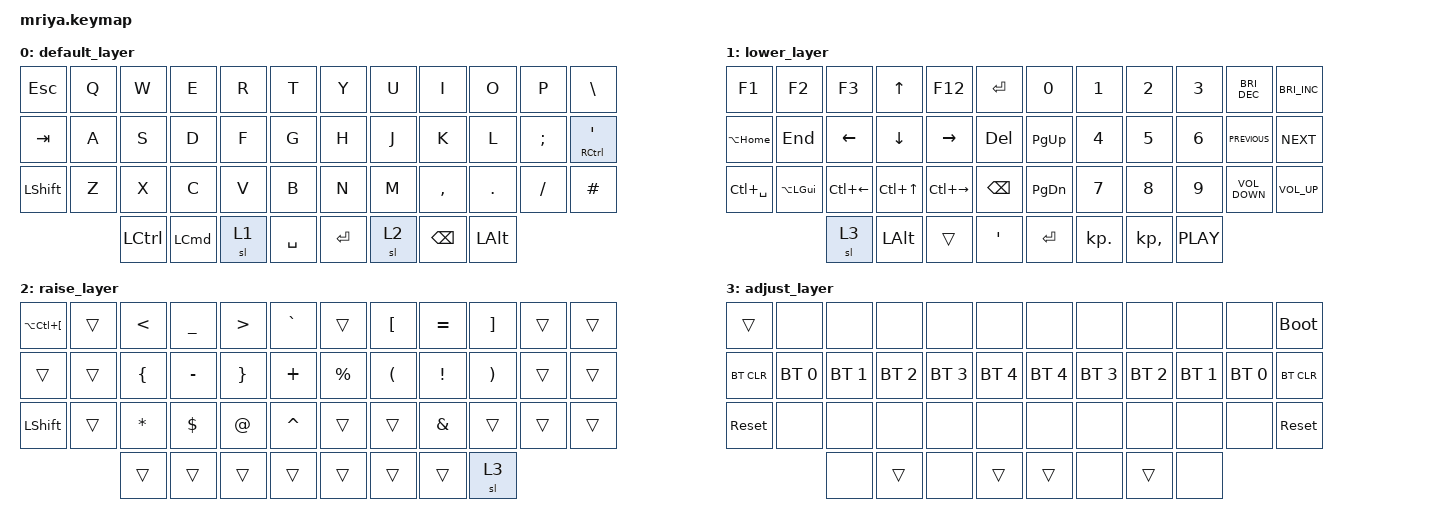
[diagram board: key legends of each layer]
/*
 * Copyright (c) 2023 Andrei Gaevskii
 *
 * SPDX-License-Identifier: MIT
 */

#include <behaviors.dtsi>
#include <dt-bindings/zmk/bt.h>
#include <dt-bindings/zmk/keys.h>

#define DEF 0
#define LWR 1
#define RSE 2
#define ADJ 3

&lt { quick_tap_ms = <200>; };

&mt { quick_tap_ms = <200>; };

/ {
    keymap {
        compatible = "zmk,keymap";

        default_layer {
            bindings = <
  &kp ESC         &kp Q  &kp W             &kp E     &kp R  &kp T        &kp Y      &kp U  &kp I          &kp O         &kp P     &kp BACKSLASH
  &kp TAB         &kp A  &kp S             &kp D     &kp F  &kp G        &kp H      &kp J  &kp K          &kp L         &kp SEMI  &mt RCTRL SQT
  &kp LEFT_SHIFT  &kp Z  &kp X             &kp C     &kp V  &kp B        &kp N      &kp M  &kp COMMA      &kp DOT       &kp FSLH  &kp HASH
                         &kp LEFT_CONTROL  &kp LCMD  &sl 1  &kp SPACE    &kp ENTER  &sl 2  &kp BACKSPACE  &kp LEFT_ALT
            >;
        };

        lower_layer {
            bindings = <
  &kp F1         &kp F2        &kp F3              &kp UP_ARROW      &kp F12              &kp ENTER           &kp NUMBER_0   &kp NUMBER_1  &kp NUMBER_2  &kp NUMBER_3  &kp C_BRIGHTNESS_DEC  &kp C_BRIGHTNESS_INC
  &kp LA(HOME)   &kp END       &kp LEFT_ARROW      &kp DOWN_ARROW    &kp RIGHT_ARROW      &kp DELETE          &kp PAGE_UP    &kp NUMBER_4  &kp NUMBER_5  &kp NUMBER_6  &kp C_PREVIOUS        &kp C_NEXT
  &kp LC(SPACE)  &kp LA(LGUI)  &kp LC(LEFT_ARROW)  &kp LC(UP_ARROW)  &kp LC(RIGHT_ARROW)  &kp BACKSPACE       &kp PAGE_DOWN  &kp N7        &kp N8        &kp N9        &kp C_VOLUME_DOWN     &kp C_VOLUME_UP
                               &sl 3               &kp LEFT_ALT      &trans               &kp SINGLE_QUOTE    &kp ENTER      &kp KP_DOT    &kp KP_COMMA  &kp C_PLAY
            >;
        };

        raise_layer {
            bindings = <
  &kp LA(LC(LEFT_BRACKET))  &trans  &kp LESS_THAN   &kp UNDERSCORE  &kp GREATER_THAN  &kp GRAVE    &trans       &kp LEFT_BRACKET      &kp EQUAL        &kp RIGHT_BRACKET      &trans  &trans
  &trans                    &trans  &kp LEFT_BRACE  &kp MINUS       &kp RIGHT_BRACE   &kp PLUS     &kp PERCENT  &kp LEFT_PARENTHESIS  &kp EXCLAMATION  &kp RIGHT_PARENTHESIS  &trans  &trans
  &kp LEFT_SHIFT            &trans  &kp STAR        &kp DOLLAR      &kp AT            &kp CARET    &trans       &trans                &kp AMPERSAND    &trans                 &trans  &trans
                                    &trans          &trans          &trans            &trans       &trans       &trans                &trans           &sl 3
            >;
        };

        adjust_layer {
            bindings = <
  &trans      &none         &none         &none         &none         &none           &none         &none         &none         &none         &none         &bootloader
  &bt BT_CLR  &bt BT_SEL 0  &bt BT_SEL 1  &bt BT_SEL 2  &bt BT_SEL 3  &bt BT_SEL 4    &bt BT_SEL 4  &bt BT_SEL 3  &bt BT_SEL 2  &bt BT_SEL 1  &bt BT_SEL 0  &bt BT_CLR
  &sys_reset  &none         &none         &none         &none         &none           &none         &none         &none         &none         &none         &sys_reset
                            &none         &trans        &none         &trans          &trans        &none         &trans        &none
            >;
        };
    };
};
